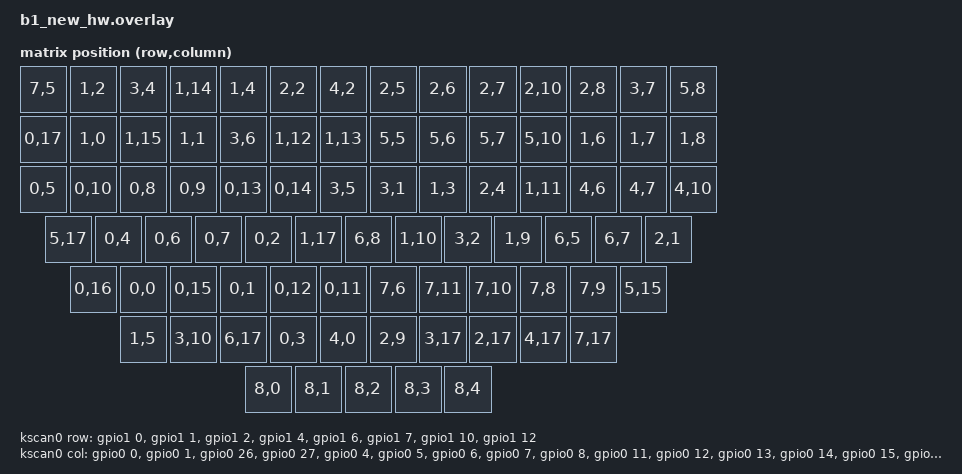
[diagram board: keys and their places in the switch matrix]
/*
 * Keychron B1 Pro newer-hardware matrix override.
 *
 * Verified on B1P-K1 hardware by a complete 77-key physical matrix sweep.
 * Loaded after Keychron's normal keychron_b1_us shield:
 *
 *   SHIELD="keychron_b1_us b1_new_hw"
 *
 * Logical key order remains identical to Keychron's stock B1 US keymap:
 * 77 keyboard positions followed by the 5 direct-input positions.
 */

#include <dt-bindings/gpio/gpio.h>
#include <dt-bindings/zmk/matrix_transform.h>

&kscan0 {
    diode-direction = "row2col";

    row-gpios =
        <&gpio1 0 GPIO_ACTIVE_HIGH>,
        <&gpio1 1 GPIO_ACTIVE_HIGH>,
        <&gpio1 2 GPIO_ACTIVE_HIGH>,
        <&gpio1 4 GPIO_ACTIVE_HIGH>,
        <&gpio1 6 GPIO_ACTIVE_HIGH>,
        <&gpio1 7 GPIO_ACTIVE_HIGH>,
        <&gpio1 10 GPIO_ACTIVE_HIGH>,
        <&gpio1 12 GPIO_ACTIVE_HIGH>;

    col-gpios =
        <&gpio0 0 (GPIO_ACTIVE_HIGH | GPIO_PULL_DOWN)>,
        <&gpio0 1 (GPIO_ACTIVE_HIGH | GPIO_PULL_DOWN)>,
        <&gpio0 26 (GPIO_ACTIVE_HIGH | GPIO_PULL_DOWN)>,
        <&gpio0 27 (GPIO_ACTIVE_HIGH | GPIO_PULL_DOWN)>,
        <&gpio0 4 (GPIO_ACTIVE_HIGH | GPIO_PULL_DOWN)>,
        <&gpio0 5 (GPIO_ACTIVE_HIGH | GPIO_PULL_DOWN)>,
        <&gpio0 6 (GPIO_ACTIVE_HIGH | GPIO_PULL_DOWN)>,
        <&gpio0 7 (GPIO_ACTIVE_HIGH | GPIO_PULL_DOWN)>,
        <&gpio0 8 (GPIO_ACTIVE_HIGH | GPIO_PULL_DOWN)>,
        <&gpio0 11 (GPIO_ACTIVE_HIGH | GPIO_PULL_DOWN)>,
        <&gpio0 12 (GPIO_ACTIVE_HIGH | GPIO_PULL_DOWN)>,
        <&gpio0 13 (GPIO_ACTIVE_HIGH | GPIO_PULL_DOWN)>,
        <&gpio0 14 (GPIO_ACTIVE_HIGH | GPIO_PULL_DOWN)>,
        <&gpio0 15 (GPIO_ACTIVE_HIGH | GPIO_PULL_DOWN)>,
        <&gpio0 16 (GPIO_ACTIVE_HIGH | GPIO_PULL_DOWN)>,
        <&gpio0 17 (GPIO_ACTIVE_HIGH | GPIO_PULL_DOWN)>,
        <&gpio0 18 (GPIO_ACTIVE_HIGH | GPIO_PULL_DOWN)>,
        <&gpio0 20 (GPIO_ACTIVE_HIGH | GPIO_PULL_DOWN)>;
};

&default_transform {
    columns = <18>;
    rows = <9>;
    map = <
        RC(7,5) RC(1,2) RC(3,4) RC(1,14) RC(1,4) RC(2,2) RC(4,2) RC(2,5) RC(2,6) RC(2,7) RC(2,10) RC(2,8) RC(3,7) RC(5,8)
        RC(0,17) RC(1,0) RC(1,15) RC(1,1) RC(3,6) RC(1,12) RC(1,13) RC(5,5) RC(5,6) RC(5,7) RC(5,10) RC(1,6) RC(1,7) RC(1,8)
        RC(0,5) RC(0,10) RC(0,8) RC(0,9) RC(0,13) RC(0,14) RC(3,5) RC(3,1) RC(1,3) RC(2,4) RC(1,11) RC(4,6) RC(4,7) RC(4,10)
        RC(5,17) RC(0,4) RC(0,6) RC(0,7) RC(0,2) RC(1,17) RC(6,8) RC(1,10) RC(3,2) RC(1,9) RC(6,5) RC(6,7) RC(2,1)
        RC(0,16) RC(0,0) RC(0,15) RC(0,1) RC(0,12) RC(0,11) RC(7,6) RC(7,11) RC(7,10) RC(7,8) RC(7,9) RC(5,15)
        RC(1,5) RC(3,10) RC(6,17) RC(0,3) RC(4,0) RC(2,9) RC(3,17) RC(2,17) RC(4,17) RC(7,17)
        RC(8,0) RC(8,1) RC(8,2) RC(8,3) RC(8,4)
    >;
};
